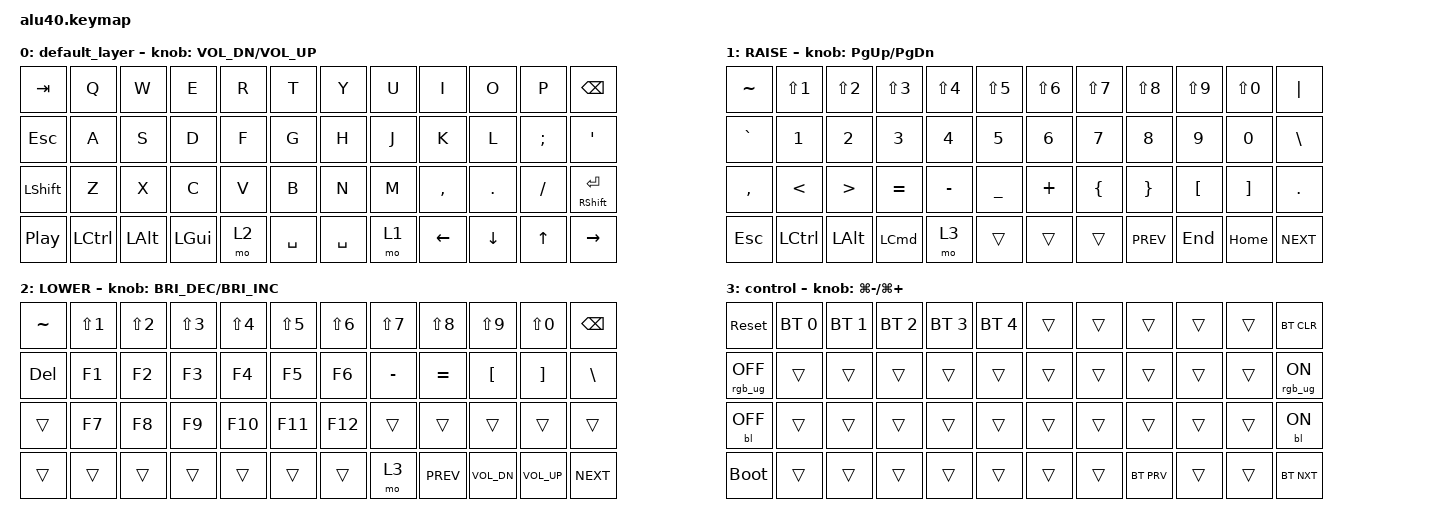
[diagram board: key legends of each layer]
/*
 * Copyright (c) 2022 The ZMK Contributors
 *
 * SPDX-License-Identifier: MIT
 */

#include <behaviors.dtsi>
#include <dt-bindings/zmk/backlight.h>
#include <dt-bindings/zmk/bt.h>
#include <dt-bindings/zmk/keys.h>
#include <dt-bindings/zmk/rgb.h>

/ {
    keymap {
        compatible = "zmk,keymap";

        default_layer {
            // -----------------------------------------------------------------------------------------
            // | ESC/~ |  Q   |  W   |  E   |  R   |  T   |   Y   |  U    |  I   |  O   |   P   | BSPC  |
            // | TAB   |  A   |  S   |  D   |  F   |  G   |   H   |  J    |  K   |  L   |   ;   |  '    |
            // | SHIFT |  Z   |  X   |  C   |  V   |  B   |   N   |  M    |  ,   |  .   |   /   |RET/SFT|
            // | PLAY  | LCTL | LALT | LGUI | LOWR |     SPACE    |  RAIS | LARW | UARW | DARW  |  RARW |

            bindings = <
&kp TAB    &kp Q      &kp W     &kp E     &kp R  &kp T      &kp Y      &kp U  &kp I      &kp O           &kp P         &kp BSPC
&kp ESC    &kp A      &kp S     &kp D     &kp F  &kp G      &kp H      &kp J  &kp K      &kp L           &kp SEMI      &kp SQT
&kp LSHFT  &kp Z      &kp X     &kp C     &kp V  &kp B      &kp N      &kp M  &kp COMMA  &kp DOT         &kp FSLH      &mt RSHFT RET
&kp C_PP   &kp LCTRL  &kp LALT  &kp LGUI  &mo 2  &kp SPACE  &kp SPACE  &mo 1  &kp LEFT   &kp DOWN_ARROW  &kp UP_ARROW  &kp RIGHT
            >;

            sensor-bindings = <&inc_dec_kp C_VOL_DN C_VOL_UP>;
        };

        RAISE {
            bindings = <
&kp TILDE   &kp LS(N1)     &kp LS(N2)        &kp LS(N3)        &kp LS(N4)    &kp LS(N5)      &kp LS(N6)    &kp LS(N7)      &kp LS(N8)       &kp LS(N9)        &kp LS(N0)         &kp PIPE
&kp GRAVE   &kp NUMBER_1   &kp NUMBER_2      &kp NUMBER_3      &kp NUMBER_4  &kp NUMBER_5    &kp NUMBER_6  &kp NUMBER_7    &kp NUMBER_8     &kp NUMBER_9      &kp NUMBER_0       &kp BACKSLASH
&kp COMMA   &kp LESS_THAN  &kp GREATER_THAN  &kp EQUAL         &kp MINUS     &kp UNDERSCORE  &kp PLUS      &kp LEFT_BRACE  &kp RIGHT_BRACE  &kp LEFT_BRACKET  &kp RIGHT_BRACKET  &kp PERIOD
&kp ESCAPE  &kp LCTRL      &kp LEFT_ALT      &kp LEFT_COMMAND  &mo 3         &trans          &trans        &trans          &kp C_PREV       &kp END           &kp HOME           &kp C_NEXT
            >;

            sensor-bindings = <&inc_dec_kp PG_UP PG_DN>;
        };

        LOWER {
            bindings = <
&kp TILDE  &kp LS(NUMBER_1)  &kp LS(N2)  &kp LS(NUMBER_3)  &kp LS(N4)  &kp LS(N5)  &kp LS(N6)  &kp LS(N7)  &kp LS(N8)  &kp LS(N9)    &kp LS(N0)    &kp BSPC
&kp DEL    &kp F1            &kp F2      &kp F3            &kp F4      &kp F5      &kp F6      &kp MINUS   &kp EQUAL   &kp LBKT      &kp RBKT      &kp BSLH
&trans     &kp F7            &kp F8      &kp F9            &kp F10     &kp F11     &kp F12     &trans      &trans      &trans        &trans        &trans
&trans     &trans            &trans      &trans            &trans      &trans      &trans      &mo 3       &kp C_PREV  &kp C_VOL_DN  &kp C_VOL_UP  &kp C_NEXT
            >;

            sensor-bindings = <&inc_dec_kp C_BRI_DEC C_BRI_INC>;
        };

        control {
            bindings = <
&sys_reset       &bt BT_SEL 0  &bt BT_SEL 1  &bt BT_SEL 2  &bt BT_SEL 3  &bt BT_SEL 4  &trans  &trans  &trans      &trans  &trans  &bt BT_CLR
&rgb_ug RGB_OFF  &trans        &trans        &trans        &trans        &trans        &trans  &trans  &trans      &trans  &trans  &rgb_ug RGB_ON
&bl BL_OFF       &trans        &trans        &trans        &trans        &trans        &trans  &trans  &trans      &trans  &trans  &bl BL_ON
&bootloader      &trans        &trans        &trans        &trans        &trans        &trans  &trans  &bt BT_PRV  &trans  &trans  &bt BT_NXT
            >;

            sensor-bindings = <&inc_dec_kp LG(MINUS) LG(PLUS)>;
        };
    };
};
